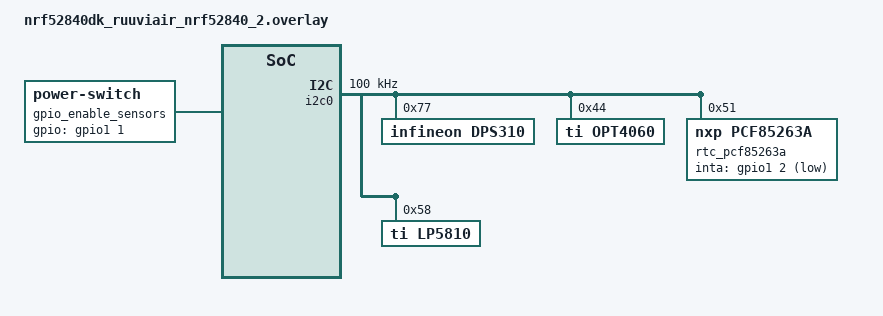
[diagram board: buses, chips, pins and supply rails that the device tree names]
/**
 * @copyright Ruuvi Innovations Ltd, license BSD-3-Clause.
 */

 #include <zephyr/dt-bindings/led/led.h>

/* This overlay file is used by the main ruuvi.air project, MCUboot and B0,
   so the path to lp5810.h must be relative to
   "ruuvi.air/boards/ruuvi/ruuviair/dts"
   because only this directory is added to the include path for all 3 projects:
   the main ruuvi.air project, MCUboot and B0.
*/
#include <../../../../drivers/lp5810/include/lp5810.h>

/ {
	gpio_enable_sensors: gpio_enable_sensors {
		compatible = "power-switch";
		status = "okay";
		gpios = <&gpio1 1 (GPIO_ACTIVE_HIGH)>;
	};
};

&gpio0 {
	status = "okay";
	gpio-reserved-ranges = <0 2>, <6 1>, <8 3>, <17 7>, <26 2>;
	gpio-line-names =
		"XL1",                       // GPIO 0 *
		"XL2",                       // GPIO 1 *
		"AREF",                      // GPIO 2
		"A0",                        // GPIO 3
		"A1",                        // GPIO 4
		"UART0_RTS",                 // GPIO 5
		"UART0_TXD",                 // GPIO 6 *
		"UART0_CTS",                 // GPIO 7
		"UART0_RXD",                 // GPIO 8 *
		"NFC1",                      // GPIO 9 *
		"NFC2",                      // GPIO 10 *
		"BUTTON1 - BUTTON_PINHOLE",  // GPIO 11
		"BUTTON2",                   // GPIO 12
		"LED1 - PINHOLE_LED_GREEN",  // GPIO 13
		"LED2 - PINHOLE_LED_RED",    // GPIO 14
		"LED3",                      // GPIO 15
		"LED4",                      // GPIO 16
		"QSPI CS",                   // GPIO 17 *
		"RESET",                     // GPIO 18 *
		"QSPI CLK",                  // GPIO 19 *
		"QSPI DIO0",                 // GPIO 20 *
		"QSPI DIO1",                 // GPIO 21 *
		"QSPI DIO2",                 // GPIO 22 *
		"QSPI DIO3",                 // GPIO 23 *
		"BUTTON3",                   // GPIO 24
		"BUTTON4",                   // GPIO 25
		"I2C_SDA (D14)",             // GPIO 26 *
		"I2C_SCL (D15)",             // GPIO 27 *
		"A2",                        // GPIO 28
		"A3",                        // GPIO 29
		"A4",                        // GPIO 30
		"A5";                        // GPIO 31
};

&gpio1 {
	status = "okay";
	gpio-reserved-ranges = <5 2>;
	gpio-line-names =
		"",                     // GPIO 0
		"ENABLE_SENSORS (D0)",  // GPIO 1
		"RTC_INT (D1)",         // GPIO 2
		"D2",                   // GPIO 3
		"D3",                   // GPIO 4
		"PDM_DIN (D4)",         // GPIO 5 *
		"PDM_CLK (D5)",         // GPIO 6 *
		"D6",                   // GPIO 7
		"D7",                   // GPIO 8
		"",                     // GPIO 9
		"D8",                   // GPIO 10
		"D9",                   // GPIO 11
		"D10",                  // GPIO 12
		"D11",                  // GPIO 13
		"D12",                  // GPIO 14
		"D13";                  // GPIO 15
};

&i2c0 {
	status = "okay";
	clock-frequency = <I2C_BITRATE_STANDARD>;

	DPS310@77 {
		status = "okay";
		compatible = "infineon,dps310";
		reg = <0x77>;
	};

	OPT4060@44 {
		status = "okay";
		compatible = "ti,opt4060";
		reg = <0x44>;
	};

	rtc_pcf85263a: pcf85263a@51 {
		status = "okay";
		inta-gpios = <&gpio1 2 (GPIO_ACTIVE_LOW | GPIO_PULL_UP)>;
		compatible = "nxp,pcf85263a";
		reg = <0x51>;
	};

	LP5810@58 {
		status = "okay";
		compatible = "ti,lp5810";
		reg = <0x58>;
		// max_curr_opt; // Uncomment to set max current to 51 mA
		lod_action_cur_out_shutdown; // Shut down current sink when LED open fault happens
		// lsd_action_all_out_shutdown; // Shut down all OUTs when LED short fault happens.
		lsd_threshold = <LP5810_LSD_THRESHOLD_065_VOUT>;
		led_0 {
			label = "LP5810 Red LED";
			index = <0>;
			color-mapping =
				<LED_COLOR_ID_RED>;
		};

		led_1 {
			label = "LP5810 Green LED";
			index = <1>;
			color-mapping =
				<LED_COLOR_ID_GREEN>;
		};

		led_2 {
			label = "LP5810 Blue LED";
			index = <2>;
			color-mapping =
				<LED_COLOR_ID_BLUE>;
		};
	};
};

/ {
	aliases {
		rtc-0 = &rtc_pcf85263a;
	};
};
